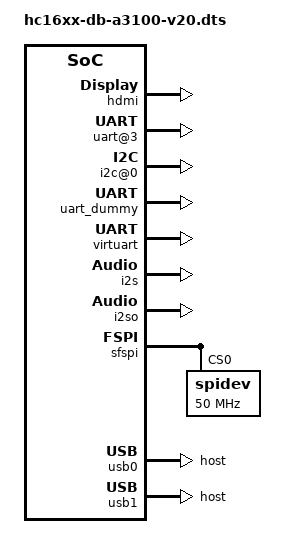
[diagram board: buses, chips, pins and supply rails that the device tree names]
/dts-v1/;

#include <dt-bindings/gpio/gpio.h>
#include <uapi/hcuapi/pinpad.h>

#define CONFIG_MEMORY_SIZE 0x08000000

#if (CONFIG_MEMORY_SIZE == 0x04000000)
#define CONFIG_MEDIAPLAYER_ROTATE_HIGH_QUALITY 0 
#else
//0:MAX SCALE FACTOR:1/2
//1:MAX SCALE FACTOR:1:1(NEED MORE MEMORY)
#define CONFIG_MEDIAPLAYER_ROTATE_HIGH_QUALITY 1
#endif


#define CONFIG_VIDEO_IN_SHARE_WITH_VDEC 1
#define CONFIG_HDMI_RX_SUPPORT 0
#define CONFIG_VIN_DVP_SUPPORT 0
#define CONFIG_VIN_TVDEC_SUPPORT 0 
#define CONFIG_VIDEO_IN_SUPPORT (CONFIG_HDMI_RX_SUPPORT | CONFIG_VIN_DVP_SUPPORT | CONFIG_VIN_TVDEC_SUPPORT)
#define CONFIG_DE4K_OUTPUT_SUPPORT 0
#define CONFIG_DUAL_OUTPUT_SUPPORT (!CONFIG_DE4K_OUTPUT_SUPPORT)
#define CONFIG_VGA_OUTPUT_SUPPORT 0
#define CONFIG_CVBS_OUTPUT_SUPPORT 0

#define CONFIG_MM_FB_SIZE (0x10cf200)
#define CONFIG_MM_VBV_SIZE (0x12c000)
#define CONFIG_MM_MF_SIZE (0x198c00)
#define CONFIG_MM_VIN_FB_SIZE (1920*1088*2*4) /*HDMI RX:OSD:1920*1088*2*2*3 DE:1920*1088*2*3*/
#define CONFIG_MM_VC_FB_SIZE (736*576*2*2)

#define MAX_EXTRA_FB_NUM (3)
#define MAX_REF_FB_NUM (7)		//if usb wired cast:MIN NUM:5
#define MAX_TOTAL_FB_NUM (MAX_REF_FB_NUM + MAX_EXTRA_FB_NUM)
#define MAX_WIDTH (2160)
#define MAX_HEIGHT (1088)
#define MAX_MB_WIDTH (MAX_WIDTH / 16)
#define MAX_MB_HEIGHT (MAX_HEIGHT / 16)
#define ONE_MV_SIZE (32 * MAX_MB_WIDTH * MAX_MB_HEIGHT)
#define AVC_MV_SIZE (ONE_MV_SIZE * MAX_TOTAL_FB_NUM)
#define AVC_MB_COL_SIZE (0x3000 * MAX_TOTAL_FB_NUM)
#if (CONFIG_MEDIAPLAYER_ROTATE_HIGH_QUALITY == 1)
#define MAX_SCALE_BUF_NUM (14 - MAX_TOTAL_FB_NUM)
#else
#define MAX_SCALE_BUF_NUM (0)
#endif
#define AVC_TOTAL_FB_SIZE (MAX_WIDTH*MAX_HEIGHT*3/2*(MAX_TOTAL_FB_NUM+MAX_SCALE_BUF_NUM))
#define AVC_MEM_SIZE ((AVC_TOTAL_FB_SIZE + AVC_MB_COL_SIZE + AVC_MV_SIZE+ 1023)&0xFFFFFFC00 )

#define CONFIG_AVC_MB_NEI_SIZE (0xf000)
#define CONFIG_AVC_CMD_QUEUE_SIZE (0x10000)
#define CONFIG_AVC_VBV_SIZE (0x80000)
#define CONFIG_AVC_MEM_SIZE AVC_MEM_SIZE
#define CONFIG_AVC_TOTAL_SIZE                                                  \
	(CONFIG_AVC_MB_NEI_SIZE + CONFIG_AVC_CMD_QUEUE_SIZE +                  \
	 CONFIG_AVC_VBV_SIZE + CONFIG_AVC_MEM_SIZE)

#define __HCRTOS_MMZ0_SIZE                                                     \
	(CONFIG_AVC_TOTAL_SIZE +                                               \
	 (CONFIG_DUAL_OUTPUT_SUPPORT * CONFIG_MM_VC_FB_SIZE) +               \
	 ((CONFIG_VIDEO_IN_SUPPORT && (!CONFIG_VIDEO_IN_SHARE_WITH_VDEC)) * CONFIG_MM_VIN_FB_SIZE))

#define HCRTOS_MMZ_BLOCKLOG (12)
#define HCRTOS_MMZ0_SIZE                                                       \
	(__HCRTOS_MMZ0_SIZE +                                                  \
	 (16 * (__HCRTOS_MMZ0_SIZE >> HCRTOS_MMZ_BLOCKLOG)) +                  \
	 (16 << HCRTOS_MMZ_BLOCKLOG))
#define HCRTOS_MMZ0_OFFSET (CONFIG_MEMORY_SIZE - HCRTOS_MMZ0_SIZE)

#define CONFIG_FRAMEBUFFER_STATIC_MEM_SIZE (0)

#define HCRTOS_SYSMEM_SIZE (CONFIG_MEMORY_SIZE - HCRTOS_MMZ0_SIZE - CONFIG_FRAMEBUFFER_STATIC_MEM_SIZE)
#define HCRTOS_SYSMEM_OFFSET (0)

#if (CONFIG_MEMORY_SIZE == 0x04000000)
#define HCRTOS_BOOTMEM_SIZE (0x1400000)
#else
#define HCRTOS_BOOTMEM_SIZE (0x2000000)
#endif
#define HCRTOS_BOOTMEM_OFFSET (((HCRTOS_SYSMEM_SIZE < 0xc000000 ? HCRTOS_SYSMEM_SIZE : 0xc000000) - 0x1000000) & 0xffff0000)

#define CONFIG_FRAMEBUFFER_STATIC_PHYS (HCRTOS_SYSMEM_OFFSET + HCRTOS_SYSMEM_SIZE)

/{
hcrtos {
	#address-cells = <1>;
	#size-cells = <1>;
	memory-mapping {
		#address-cells = <1>;
		#size-cells = <1>;
		bootmem {
			reg = <HCRTOS_BOOTMEM_OFFSET HCRTOS_BOOTMEM_SIZE>;
		};

		sysmem {
			reg = <HCRTOS_SYSMEM_OFFSET HCRTOS_SYSMEM_SIZE>;
		};

		mmz0 {
			id = <0>;
			reg = <HCRTOS_MMZ0_OFFSET HCRTOS_MMZ0_SIZE>;
			blocklog = <HCRTOS_MMZ_BLOCKLOG>;
		};
	};

	board {
		label = "hc1600a@dbA3100v20";
	};

	scpu {
		/*
		 * 0 : 594M
		 * 1 : 450M
		 * 2 : 396M
		 * 3 : 297M
		 * 4 : 198M
		 * 5 : 24M
		 * 7 : SCPU dig pll clk
		 */
		clock = <7>;
		scpu-dig-pll-clk = <800>;
	};

	mcpu {
		/*
		 * 0 : 594M
		 * 1 : 396M
		 * 2 : 297M
		 * 3 : 198M
		 * 4 : 900M
		 * 5 : 1188M
		 * 6 : 24M
		 * 7 : CPU dig pll clk
		 */
		clock = <4>;
		mcpu-dig-pll-clk = <900>;
	};

	standby {
		ir = <28>;  	// key val
	};

	hdmi {
		/*
		 * 0: fxde
		 * 1: de4k
		 * 2: hdmi rx
		 * 3: pq rgb
		 */
		tx_source = <CONFIG_DE4K_OUTPUT_SUPPORT>;
		i2c-devpath = "/dev/i2c0";
		pinmux-hotplug = <PINPAD_L16 1>;
		status = "okay";
	};

	hdmi_rx {
		pinmux-hotplugin = <PINPAD_T20 0>;
		pinmux-detect = <PINPAD_T20 3>;
		pinmux-i2c = <PINPAD_T22 8 PINPAD_T23 8>;
		status = "disabled";
	};

	video-engine {
		/*
		 * 0 : 148M
		 * 1 : 170M
		 * 2 : 198M
		 * 3 : 225M
		 * 4 : 297M
		 * 5 : 396M
		 * 6 : 450M
		 * 7 : VE dig pll clk
		 */
		clock = <5>;
		ve-dig-pll-clk = <500>;
		dynamic-resolution-support = <0>;
		video-in-support = <CONFIG_VIDEO_IN_SUPPORT>;

		mm-fb-size = <CONFIG_MM_FB_SIZE>;
		mm-vbv-size = <CONFIG_MM_VBV_SIZE>;
		mm-mf-size = <CONFIG_MM_MF_SIZE>;
		mm-vin-fb-size = <CONFIG_MM_VIN_FB_SIZE>;

		avc-extra-fb-num = <MAX_EXTRA_FB_NUM>;
		avc-mb-nei-size = <CONFIG_AVC_MB_NEI_SIZE>;
		avc-cmd-queue-size = <CONFIG_AVC_CMD_QUEUE_SIZE>;
		avc-vbv-size = <CONFIG_AVC_VBV_SIZE>;
		avc-mem-size = <CONFIG_AVC_MEM_SIZE>;
		status = "okay";
	};

	DE: de-engine {
		/*
		 * 0 : 170M
		 * 1 : 148M
		 * 2 : 198M
		 * 3 : 225M
		 * 4 : 297M
		 * 5 : 300M
		 * 6 : DE dig pll clk
		 */
		de4k-clock = <6>;
		de-dig-pll-clk = <400>;

		dual-output = <CONFIG_DUAL_OUTPUT_SUPPORT>;
		mm-vc-fb-size = <CONFIG_MM_VC_FB_SIZE>;

		de4k-output = <CONFIG_DE4K_OUTPUT_SUPPORT>;
		/*
		* copy it from avp-custom/components/kernel/source/include/uapi/hcuapi/tvtype.h
		* TV_PAL = 0,			// (Fh=15.625,fv=50)       PAL4.43 (==PAL_BDGHI)
		* TV_NTSC = 1,			// (Fh=15.734,Fv=59.94)    NTSC3.58
		* TV_PAL_M = 2,			// (Fh=15.734,Fv=59.94)    PAL3.58
		* TV_PAL_N = 3,			// (Fh=15.625,fv=50)       PAL4.43 (changed PAL mode) 
		* TV_PAL_60 = 4,			// (Fh=15.734,Fv=59.94)
		* TV_NTSC_443 = 5,		// (Fh=15.734,Fv=59.94)
		* TV_LINE_720_25 = 6,
		* TV_LINE_720_30 = 7,
		* TV_LINE_1080_25 = 8,
		* TV_LINE_1080_30 = 9,
		* TV_LINE_1080_50 = 10,
		* TV_LINE_1080_60 = 11,
		* TV_LINE_1080_24 = 12,
		* TV_PAL_NC = 13,			// (Fh=15.625,fv=50)       PAL3.58 (changed PAL mode)
		* TV_LINE_640X480_50 = 14,
		* TV_LINE_800X480_60 = 15,
		* TV_LINE_1024X768_60 = 16,
		* TV_LINE_1360X768_60 = 17,
		* TV_LINE_1280X960_60 = 18,
		* TV_LINE_1280X1024_60 = 19,
		* TV_LINE_1024X768_50 = 20,
		* TV_LINE_1080_55 = 21,
		* TV_LINE_768X1024_60 = 22,
		* TV_LINE_4096X2160_30 = 23,
		* TV_LINE_3840X2160_30 = 24,
		*/
		tvtype = <11>;
		cvbs-output = <CONFIG_CVBS_OUTPUT_SUPPORT>;
		vga-output = <CONFIG_VGA_OUTPUT_SUPPORT>;
		pinmux-vga-hsync = <PINPAD_L12 6>; //share with uart3
		pinmux-vga-vsync = <PINPAD_L13 6>; //share with uart3
		
		/*
		DIS_DAC_0 = (1 << 0),
		DIS_DAC_1 = (1 << 1),
		DIS_DAC_2 = (1 << 2),
		*/
		vga-rgb-dac-r = <4>;
		vga-rgb-dac-g = <2>;
		vga-rgb-dac-b = <1>;
		status = "okay";
	};

	uart@0 {
		devpath = "/dev/uart0";
		status = "disabled";
	};

	uart@1 {
		devpath = "/dev/uart1";
		status = "disabled";
	};

	uart@2 {
		devpath = "/dev/uart2";
		status = "disabled";
	};

	uart@3 {
		pinmux-active = <PINPAD_L12 4 PINPAD_L13 4>;
		devpath = "/dev/uart3";
		status = "okay";
	};

	i2c@0{
		pinmux-active = <PINPAD_L17 1 PINPAD_L18 1>;
		device_type = "hichip,hcrtos-setup-setbit";
		reg_bit = <0xb8800094 18 1>;
		devpath = "/dev/i2c0";
		baudrate = <115200>;
		mode = "master";
		status = "okay";
	};

	uart_dummy {
		devpath = "/dev/uart_dummy";
		status = "okay";
	};
        
	virtuart {
		devpath = "/dev/virtuart";
		status = "okay";
	};

	pok {
		devpath = "/dev/pok";
		status = "okay";
	};

	efuse {
		devpath = "/dev/efuse";
		status = "okay";
	};
	
	stdio {
		serial0 = "/hcrtos/uart@3";
	};

	boot-stdio {
		serial0 = "/hcrtos/uart@3";
	};

	bluetooth {
		devpath = "/dev/uart1";
		status = "disabled";
	};

	i2s {
		status = "okay";
	};

	cs4344 {
		status = "disabled";
	};

	cjc8988 {
		status = "disabled";
	};

	wm8960 {
		status = "disabled";
	};

	i2so {
		volume = <255>;
		status = "okay";
	};

	i2si {
		volume = <255>;
		status = "disabled";
	};

	i2si0 {
		status = "disabled";
	};

	i2si1 {
		status = "disabled";
	};

	i2si2 {
		status = "disabled";
	};

	spdif-out {
		status = "disabled";
	};

	spdif-in {
		status = "disabled";
	};

	pcmi {
		status = "disabled";
	};

	pcmi0 {
		status = "disabled";
	};

	pcmi1 {
		status = "disabled";
	};

	pcmi2 {
		status = "disabled";
	};

	pcmo {
		status = "disabled";
	};

	tdmi {
		status = "disabled";
	};

	pdmi0 {
		status = "disabled";
	};

	pdmi1 {
		status = "disabled";
	};

	pdmi2 {
		status = "disabled";
	};

	irc {
		pinmux-active = <PINPAD_L14 1>;
		linux,rc-map-name = "rc-hcdemo";
		status = "okay";
	};

	persistentmem {
		mtdname = "persistentmem";
		size = <4096>;
		status = "okay";
	};

	sfspi {
		pinmux-active = <PINPAD_T14 1 PINPAD_T15 1 PINPAD_T16 1 PINPAD_T17 1 PINPAD_T18 1 PINPAD_T19 1>;
		sclk = <50000000>;
		dma-mode = <1>;
		status = "okay";

		spi_nor_flash {
			spi-tx-bus-width = <1>;
			spi-rx-bus-width = <1>;
			reg = <0>;
			status = "okay";
			partitions {
				part-num = <4>;

				/* part0 is for entire norflash by default */

				part1-label = "boot";
				part1-reg = <0x0 0x60000>;
				part1-filename = "bootloader.bin";

				part2-label = "eromfs";
				part2-reg = <0x60000 0x20000>;
				part2-filename = "romfs.img";

				part3-label = "firmware";
				part3-reg = <0x80000 0x360000>;
				part3-filename = "hcdemo.uImage";

				part4-label = "persistentmem";
				part4-reg = <0x3e0000 0x20000>;
				part4-filename = "persistentmem.bin";
			};
		};

		spidev@0 {
			devpath = "/dev/spidev0";
			reg = <0>;
			spi-max-frequency = <50000000>;
			status = "okay";
		};
	};
	
	
	vindvp {
		i2c-devpath = "/dev/i2c3";
		pinmux-dvp = <PINPAD_R00 5 PINPAD_R01 5 PINPAD_R02 5 PINPAD_R03 5 PINPAD_R04 5 PINPAD_R05 5 PINPAD_R06 5 PINPAD_R07 5 PINPAD_R08 5 PINPAD_R09 5 PINPAD_R10 5>;
		status = "disabled";
	}; 

#if (CONFIG_DE4K_OUTPUT_SUPPORT == 1)
#define CONFIG_FB0_REG 0xb883a000
#define CONFIG_FB1_REG 0xb883a080
#else
#define CONFIG_FB0_REG 0xb8808000
#define CONFIG_FB1_REG 0xb8808080
#endif

	fb0 {
		bits_per_pixel = <32>;
		xres = <1280>;
		yres = <720>;
		xres_virtual = <1280>;
		yres_virtual = <720>;
		xoffset = <0>;
		yoffset = <0>;

		scale = <1280 720 1920 1080>;

		reg = <CONFIG_FB0_REG 0x1000>;
		/*
		 * frame buffer memory from:
		 * system : malloc buffer from system heap
		 * mmz0   : malloc buffer from mmz0
		 * static : use CONFIG_FRAMEBUFFER_STATIC_PHYS and CONFIG_FRAMEBUFFER_STATIC_MEM_SIZE to allocate memory staticly.
		 * none   : set buffer by user
		 * default is system if the property is missing
		 */
		buffer-source = "system";
		extra-buffer-size = <0x9CA000>;

		buffer-phy-static = <CONFIG_FRAMEBUFFER_STATIC_PHYS CONFIG_FRAMEBUFFER_STATIC_MEM_SIZE>;
		status = "okay";
	};
	
	boot-fb0 {
		bits_per_pixel = <16>;
		xres = <1280>;
		yres = <720>;
		xres_virtual = <1280>;
		yres_virtual = <720>;
		xoffset = <0>;
		yoffset = <0>;

		scale = <1280 720 1920 1080>;

		reg = <CONFIG_FB0_REG 0x1000>;
		/*
		 * frame buffer memory from:
		 * system : malloc buffer from system heap
		 * mmz0   : malloc buffer from mmz0
		 * none   : set buffer by user
		 * default is system if the property is missing
		 */
		buffer-source = "system";
		extra-buffer-size = <0>;

		status = "okay";
	};

	fb1 {
		reg = <CONFIG_FB1_REG 0x1000>;
		bits_per_pixel = <8>;
		xres = <1280>;
		yres = <720>;
		xres_virtual = <1280>;
		yres_virtual = <720>;
		xoffset = <0>;
		yoffset = <0>;

		scale = <1280 720 1920 1080>;

		/*
		 * frame buffer memory from:
		 * system : malloc buffer from system heap
		 * mmz0   : malloc buffer from mmz0
		 * none   : set buffer by user
		 * default is system if the property is missing
		 */
		buffer-source = "system";
		pre-multiply = <0>;
		extra-buffer-size = <0>;
		status = "disabled";
	};

	rotate {
		/*
		 * anticlockwise,
		 * support 0/90/180/270 degree.
		 */
		rotate = <0>;

		/*
		* value is 0 or 1, support fliping may use more fb memory
		* flip_support = 1, support fb fliped
		*/
		flip_support = <0>;

		/*
		 * value is 0 or 1
		 * h_flip = 1 is horizontally fliped
		 * v_flip = 1 is vertically fliped
		 */
		h_flip = <0>;
		v_flip = <0>;

		status = "disabled";
	};

	usb0 {  // usb_host0 / usb_peripheral0
		reg = <0x18844000 0x1000>;
		interrupts = <53>,<52>;
		interrupt-names = "mc","dma";
		dr_mode = "host";  // host/peripheral
		index_num = <0>;
		ctrl_base = <0x18800000>;
		status = "okay";
	};

	usb1 {  // usb_host1/ usb_peripheral1
		reg = <0x18850000 0x1000>;
		interrupts = <51>, <50>;
		interrupt-names = "mc", "dma";
		dr_mode = "host";
		index_num = <1>;
		ctrl_base = <0x18800000>;
		status = "okay";
	};

	ge: ge@18806000 {
	    reg = <0xb8806000 0x2000>, <0xb8800000 0x1000>;
	    interrupts = <4>; 
	    cmdq_buf_size = <0x3c000>;
	    status = "okay";
    	}; 
	dsc: dsc@0x18870000 {
	     compatible = "hichip,dsc";
	     reg = <0xb8834000 0x1000>;
	     interrupts = <44>;
	     status = "okay";
     	}; 
};
};
